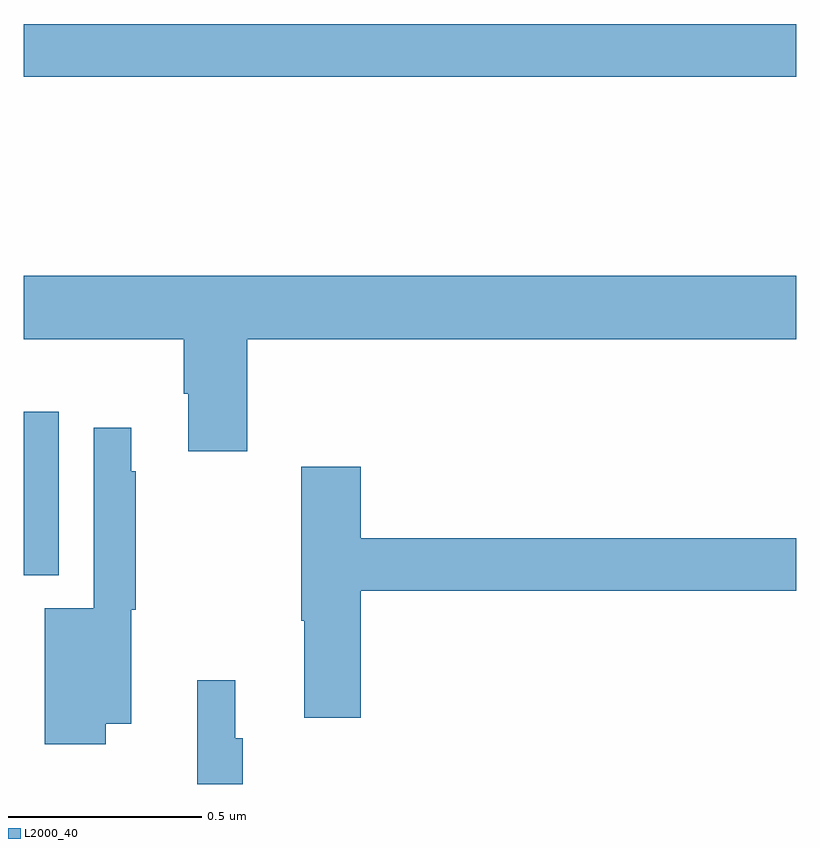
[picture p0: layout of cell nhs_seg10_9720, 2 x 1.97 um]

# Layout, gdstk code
import gdstk
lib = gdstk.Library(unit=1e-6, precision=1e-09)
def R(c, l, rs):  # rectangles x0, y0, x1, y1
    for r in rs: c.add(gdstk.rectangle(r[:2], r[2:], *l))
def P(c, l, *ps):  # polygons
    for p in ps: c.add(gdstk.Polygon(p, *l))
L2000_40 = (2000, 40)

nhs_seg10_9720 = lib.new_cell('nhs_seg10_9720')
R(nhs_seg10_9720, L2000_40, [(233,1297.04,233.091,1297.464), (233,1298.332,235,1298.468)])
P(nhs_seg10_9720, L2000_40, [(233.579,1297.652),(235,1297.652),(235,1297.816),(233,1297.816),(233,1297.652),(233.414,1297.652),(233.414,1297.51),(233.426,1297.51),(233.426,1297.362),(233.579,1297.362)],
  [(233.212,1296.656),(233.278,1296.656),(233.278,1296.951),(233.29,1296.951),(233.29,1297.31),(233.278,1297.31),(233.278,1297.423),(233.181,1297.423),(233.181,1296.955),(233.054,1296.955),(233.054,1296.603),(233.212,1296.603)],
  [(233.873,1297),(235,1297),(235,1297.136),(233.873,1297.136),(233.873,1297.321),(233.719,1297.321),(233.719,1296.923),(233.726,1296.923),(233.726,1296.672),(233.873,1296.672)],
  [(233.567,1296.618),(233.548,1296.618),(233.548,1296.769),(233.449,1296.769),(233.449,1296.5),(233.567,1296.5)])

lib.write_gds('nhs_seg10_9720.gds')
